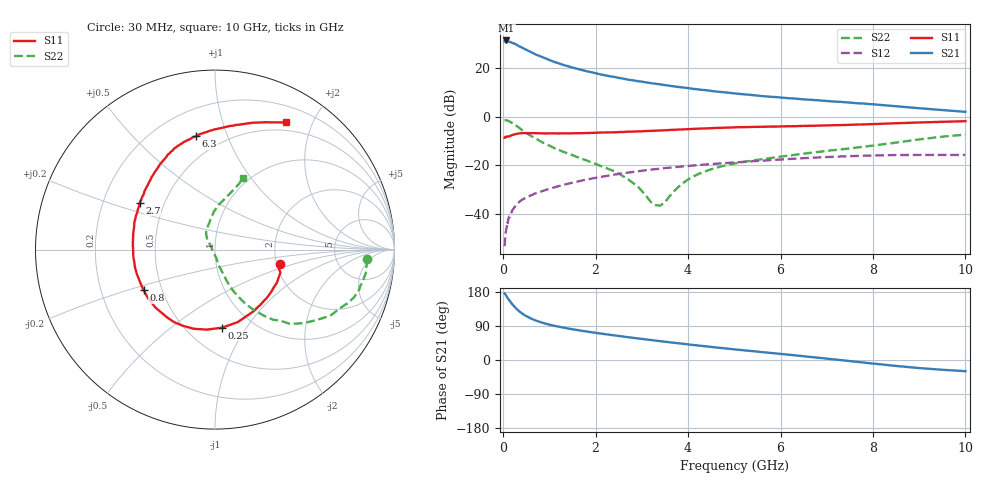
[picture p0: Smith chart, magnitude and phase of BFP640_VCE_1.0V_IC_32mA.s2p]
! Infineon Technologies  Discrete & RF Semiconductors
! BFP640
! VCE =  1.0 V,  IC =  32 mA
! Common Emitter S-Parameters:  Apr 2013
# GHz  S  MA  R  50
!  f  S11  S21  S12  S22
! GHz  MAG  ANG  MAG  ANG  MAG  ANG  MAG  ANG
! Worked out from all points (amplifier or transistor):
!   99 points, 30 MHz to 10 GHz, reference 50 ohm
!   highest |S21| = 31.4 dB at 70 MHz (marker M1)
!   |S21| within 3 dB of that: start of sweep to 413.9 MHz
!   unconditionally stable (mu >= 1): start of sweep to 43.66 MHz; 1.455 GHz to end of sweep
!   at 350 MHz: K = 0.52, MSG = 31.9 dB, |S12| = -34.9 dB
!   at 3.5 GHz: K = 1.12, MAG = 15.0 dB, |S12| = -21.1 dB
!   at 10 GHz: K = 1.12, MAG = 6.7 dB, |S12| = -15.7 dB
!   S11 on the Smith chart (normalised r, x): 30 MHz: 2.08, -0.38; 250 MHz: 0.73, -0.78; 800 MHz: 0.39, -0.23; 2.7 GHz: 0.36, +0.25; 6.3 GHz: 0.36, +0.78; 10 GHz: 0.39, +1.63
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0.03  0.3691 -12.4  35.24 175.6  0.0022 70.6  0.8479 -3.6
0.04  0.3704 -16.2  35.49 174.3  0.003 77.2  0.8497 -5.4
0.05  0.3865 -19.4  36.65 173.0  0.0041 83.7  0.8481 -7.2
0.07  0.3911 -28.0  36.95 168.4  0.0051 73.1  0.845 -10.5
0.11  0.3947 -43.7  35.47 160.9  0.0079 77.8  0.8246 -17.4
0.15  0.4051 -57.5  34.42 154.6  0.0094 70.1  0.7843 -23.3
0.2  0.4234 -72.5  32.87 146.4  0.0121 66.0  0.7398 -29.9
0.25  0.4367 -84.8  31.62 139.9  0.0142 61.8  0.6834 -35.3
0.3  0.448 -95.6  29.85 133.5  0.0163 62.6  0.6389 -39.9
0.35  0.4565 -104.9  27.84 128.2  0.0179 60.6  0.5904 -44.6
0.45  0.4638 -119.3  25.06 119.2  0.0207 57.4  0.5067 -50.4
0.6  0.4629 -135.6  21.35 109.5  0.0243 55.2  0.4058 -56.9
0.8  0.4575 -150.4  17.53 100.2  0.0287 55.3  0.3167 -62.3
1.1  0.4571 -167.0  13.44 90.4  0.0354 55.2  0.2286 -67.3
1.7  0.4612 171.8  9.15 77.2  0.0491 53.4  0.1365 -71.4
2.7  0.4947 148.0  5.795 60.2  0.0713 47.3  0.0521 -80.2
3.4  0.5239 134.8  4.62 49.7  0.0863 41.4  0.015 -168.6
5.1  0.6097 110.9  2.958 26.9  0.117 26.6  0.1141 115.4
6.3  0.641 99.5  2.376 12.5  0.1378 16.3  0.165 99.4
6.7  0.6546 95.1  2.218 7.4  0.1442 12.4  0.1841 95.9
8.5  0.7366 73.6  1.647 -15.7  0.1637 -5.9  0.295 78.2
10  0.811 60.9  1.263 -29.5  0.1648 -17.0  0.4303 68.6
